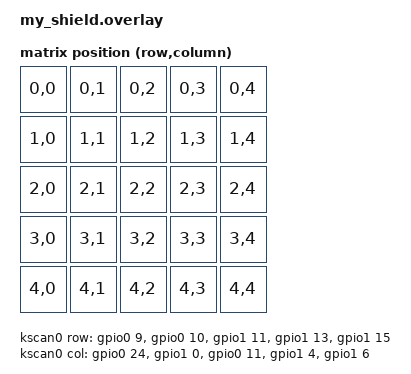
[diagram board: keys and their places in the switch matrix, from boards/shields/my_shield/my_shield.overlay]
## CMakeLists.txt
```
add_subdirectory(zmk-ads1015-input)
add_subdirectory(zmk-hid-io)
```

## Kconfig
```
source "zmk-ads1015-input/Kconfig"
source "zmk-hid-io/Kconfig"
```

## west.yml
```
manifest:
  version: "0.8"

  remotes:
    - name: zephyr
      url-base: https://github.com/zephyrproject-rtos

  defaults:
    remote: zephyr

  projects:
    - name: zephyr
      revision: v4.1.0
      west-commands: scripts/west-commands.yml
      import: true

  self:
    path: .
```

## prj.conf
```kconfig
# USB CDC ACM console for printk output
CONFIG_USB_DEVICE_STACK=y
CONFIG_USB_CDC_ACM=y
```

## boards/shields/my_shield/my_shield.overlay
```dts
#include <dt-bindings/zmk/matrix_transform.h>

/ {
    chosen {
        zmk,kscan = &kscan0;
        zmk,matrix-transform = &default_transform;
    };

    default_transform: keymap_transform_0 {
        compatible = "zmk,matrix-transform";
        columns = <5>;
        rows = <5>;
        map = <
            RC(0,0) RC(0,1) RC(0,2) RC(0,3) RC(0,4)
            RC(1,0) RC(1,1) RC(1,2) RC(1,3) RC(1,4)
            RC(2,0) RC(2,1) RC(2,2) RC(2,3) RC(2,4)
            RC(3,0) RC(3,1) RC(3,2) RC(3,3) RC(3,4)
            RC(4,0) RC(4,1) RC(4,2) RC(4,3) RC(4,4)
        >;
    };

    kscan0: kscan {
        compatible = "zmk,kscan-gpio-matrix";
        label = "KSCAN";
        diode-direction = "col2row";
        col-gpios
            = <&gpio0 24 GPIO_ACTIVE_HIGH>
            , <&gpio1 0  GPIO_ACTIVE_HIGH>
            , <&gpio0 11 GPIO_ACTIVE_HIGH>
            , <&gpio1 4  GPIO_ACTIVE_HIGH>
            , <&gpio1 6  GPIO_ACTIVE_HIGH>
            ;
        row-gpios
            = <&gpio0 9  (GPIO_ACTIVE_HIGH | GPIO_PULL_DOWN)>
            , <&gpio0 10 (GPIO_ACTIVE_HIGH | GPIO_PULL_DOWN)>
            , <&gpio1 11 (GPIO_ACTIVE_HIGH | GPIO_PULL_DOWN)>
            , <&gpio1 13 (GPIO_ACTIVE_HIGH | GPIO_PULL_DOWN)>
            , <&gpio1 15 (GPIO_ACTIVE_HIGH | GPIO_PULL_DOWN)>
            ;
    };
};

&i2c0 {
    status = "okay";
};

&i2c0 {
    ads1015: ads1015-input@48 {
        compatible = "zmk,ads1015-input";
        reg = <0x48>;
        label = "ADS1015";
        channel-x = <0>;
        channel-y = <1>;
        update-interval-ms = <3>;
        status = "okay";
    };

    tps43: tps43-input@74 {
        compatible = "zmk,tps43-input";
        reg = <0x74>;
        label = "TPS43";
        update-interval-ms = <5>;
        status = "okay";
    };
};

#define HID_IO_USAGE_FWD_TO_JOYSTICK 2

/ {
    zip_fwd_to_joystick: zip_forward_fwd_to_joystick {
        compatible = "zmk,input-processor-fwd-to-hid-io";
        #input-processor-cells = <0>;
        usage = <HID_IO_USAGE_FWD_TO_JOYSTICK>;
    };

    ads1015_joystick_il {
        compatible = "zmk,input-listener";
        device = <&ads1015>;
        input-processors = <&zip_fwd_to_joystick>;
    };

    hidiokp: hid_io_key_press {
        compatible = "zmk,behavior-hid-io-key-press";
        #binding-cells = <1>;
    };

    hidiokp_ibl {
        compatible = "zmk,input-behavior-listener";
        device = <&hidiokp>;
        input-processors = <&zip_fwd_to_joystick>;
    };

    tps43_mouse_il {
        compatible = "zmk,input-listener";
        device = <&tps43>;
    };
};
```

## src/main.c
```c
#include <zephyr/kernel.h>
#include <zephyr/sys/printk.h>

void main(void)
{
    while (1) {
        printk("Hello World from Zephyr!\n");
        k_sleep(K_SECONDS(3));
    }
}
```
